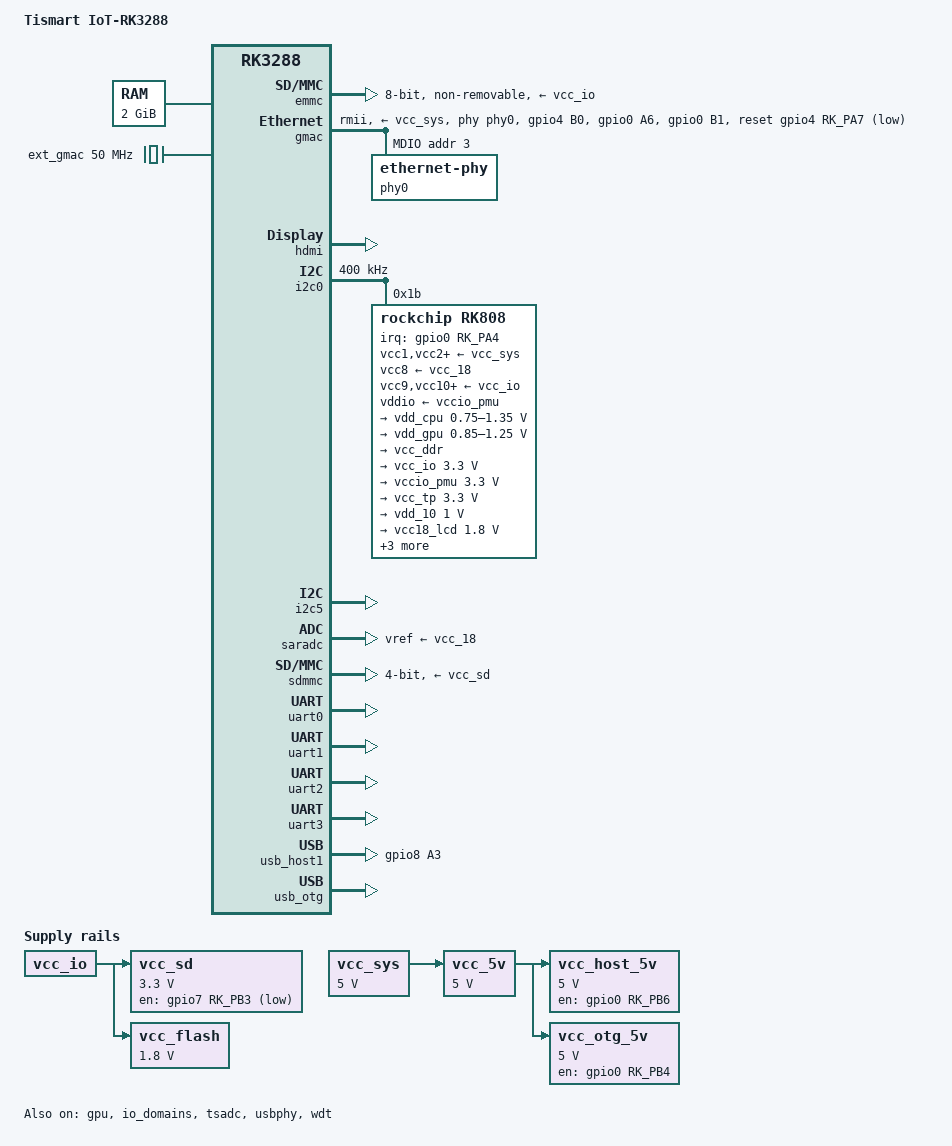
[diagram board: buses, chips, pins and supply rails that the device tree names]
// SPDX-License-Identifier: (GPL-2.0+ OR MIT)
/*
 * Copyright (c) 2014, 2015 FUKAUMI Naoki <naobsd@gmail.com>
 */

/dts-v1/;
#include "rk3288.dtsi"
#include <dt-bindings/clock/rockchip,rk808.h>
#include <dt-bindings/input/input.h>
#include <dt-bindings/pwm/pwm.h>

/ {
	model = "Tismart IoT-RK3288";
	compatible = "tismart,iot-rk3288", "rockchip,rk3288";

	chosen {
		stdout-path = "serial2:115200n8";
	};

	memory@0 {
		device_type = "memory";
		reg = <0x0 0x0 0x0 0x80000000>;
	};

	ext_gmac: external-gmac-clock {
		compatible = "fixed-clock";
		#clock-cells = <0>;
		clock-frequency = <50000000>; /* 50MHz for RMII */
		clock-output-names = "ext_gmac";
	};

	vcc_sys: vsys-regulator {
		compatible = "regulator-fixed";
		regulator-name = "vcc_sys";
		regulator-min-microvolt = <5000000>;
		regulator-max-microvolt = <5000000>;
		regulator-always-on;
		regulator-boot-on;
	};

	vcc_sd: regulator-sdmmc {
		compatible = "regulator-fixed";
		gpio = <&gpio7 RK_PB3 GPIO_ACTIVE_LOW>;
		regulator-name = "vcc_sd";
		regulator-min-microvolt = <3300000>;
		regulator-max-microvolt = <3300000>;
		startup-delay-us = <100000>;
		vin-supply = <&vcc_io>;
	};

	vcc_flash: regulator-flash {
		compatible = "regulator-fixed";
		regulator-name = "vcc_flash";
		regulator-min-microvolt = <1800000>;
		regulator-max-microvolt = <1800000>;
		vin-supply = <&vcc_io>;
	};

	vcc_5v: regulator-usb {
		compatible = "regulator-fixed";
		regulator-name = "vcc_5v";
		regulator-min-microvolt = <5000000>;
		regulator-max-microvolt = <5000000>;
		regulator-always-on;
		regulator-boot-on;
		vin-supply = <&vcc_sys>;
	};

	vcc_host_5v: regulator-usb-host {
		compatible = "regulator-fixed";
		enable-active-high;
		gpio = <&gpio0 RK_PB6 GPIO_ACTIVE_HIGH>;
		regulator-name = "vcc_host_5v";
		regulator-min-microvolt = <5000000>;
		regulator-max-microvolt = <5000000>;
		regulator-always-on;
		vin-supply = <&vcc_5v>;
	};

	vcc_otg_5v: regulator-usb-otg {
		compatible = "regulator-fixed";
		enable-active-high;
		gpio = <&gpio0 RK_PB4 GPIO_ACTIVE_HIGH>;
		regulator-name = "vcc_otg_5v";
		regulator-min-microvolt = <5000000>;
		regulator-max-microvolt = <5000000>;
		regulator-always-on;
		vin-supply = <&vcc_5v>;
	};
};

&cpu0 {
	cpu0-supply = <&vdd_cpu>;
};

&emmc {
	bus-width = <8>;
	cap-mmc-highspeed;
	disable-wp;
	non-removable;
	pinctrl-names = "default";
	pinctrl-0 = <&emmc_clk &emmc_cmd &emmc_pwr &emmc_bus8>;
	vmmc-supply = <&vcc_io>;
	vqmmc-supply = <&vcc_flash>;
	status = "okay";
};

&gmac {
	assigned-clocks = <&cru SCLK_MAC>;
	assigned-clock-parents = <&ext_gmac>;
	clock_in_out = "input"; /* Clock input from external 50MHz oscillator */
	pinctrl-names = "default";
	pinctrl-0 = <&rmii_pins>, <&phy_rst>, <&phy_pmeb>, <&phy_int>;
	phy-supply = <&vcc_sys>; /* Force to always-on system regulator in U-Boot */
	phy-mode = "rmii"; 
	phy-handle = <&phy0>;
	snps,reset-active-low;
	snps,reset-delays-us = <0 10000 50000>;
	snps,reset-gpio = <&gpio4 RK_PA7 GPIO_ACTIVE_LOW>;
	tx_delay = <0x30>;
	rx_delay = <0x10>;
	max-speed = <100>;
	status = "okay";

	mdio {
		compatible = "snps,dwmac-mdio";
		#address-cells = <1>;
		#size-cells = <0>;

		phy0: ethernet-phy@3 {
			reg = <3>;
		};
	};
};

&gpu {
	mali-supply = <&vdd_gpu>;
	status = "okay";
};

&hdmi {
	ddc-i2c-bus = <&i2c5>;
	status = "okay";
};

&i2c0 {
	clock-frequency = <400000>;
	status = "okay";

	rk808: pmic@1b {
		compatible = "rockchip,rk808";
		reg = <0x1b>;
		interrupt-parent = <&gpio0>;
		interrupts = <RK_PA4 IRQ_TYPE_LEVEL_LOW>;
		pinctrl-names = "default";
		pinctrl-0 = <&pmic_int &global_pwroff>;
		rockchip,system-power-controller;
		wakeup-source;
		#clock-cells = <1>;
		clock-output-names = "xin32k", "rk808-clkout2";

		vcc1-supply = <&vcc_sys>;
		vcc2-supply = <&vcc_sys>;
		vcc3-supply = <&vcc_sys>;
		vcc4-supply = <&vcc_sys>;
		vcc6-supply = <&vcc_sys>;
		vcc7-supply = <&vcc_sys>;
		vcc8-supply = <&vcc_18>;
		vcc9-supply = <&vcc_io>;
		vcc10-supply = <&vcc_io>;
		vcc11-supply = <&vcc_sys>;
		vcc12-supply = <&vcc_io>;
		vddio-supply = <&vccio_pmu>;

		regulators {
			vdd_cpu: DCDC_REG1 {
				regulator-always-on;
				regulator-boot-on;
				regulator-min-microvolt = <750000>;
				regulator-max-microvolt = <1350000>;
				regulator-name = "vdd_arm";
				regulator-state-mem {
					regulator-off-in-suspend;
				};
			};

			vdd_gpu: DCDC_REG2 {
				regulator-always-on;
				regulator-boot-on;
				regulator-min-microvolt = <850000>;
				regulator-max-microvolt = <1250000>;
				regulator-name = "vdd_gpu";
				regulator-state-mem {
					regulator-on-in-suspend;
				};
			};

			vcc_ddr: DCDC_REG3 {
				regulator-always-on;
				regulator-boot-on;
				regulator-name = "vcc_ddr";
				regulator-state-mem {
					regulator-on-in-suspend;
				};
			};

			vcc_io: DCDC_REG4 {
				regulator-always-on;
				regulator-boot-on;
				regulator-min-microvolt = <3300000>;
				regulator-max-microvolt = <3300000>;
				regulator-name = "vcc_io";
				regulator-state-mem {
					regulator-on-in-suspend;
				};
			};

			vccio_pmu: LDO_REG1 {
				regulator-always-on;
				regulator-boot-on;
				regulator-min-microvolt = <3300000>;
				regulator-max-microvolt = <3300000>;
				regulator-name = "vccio_pmu";
				regulator-state-mem {
					regulator-on-in-suspend;
				};
			};

			vcc_tp: LDO_REG2 {
				regulator-always-on;
				regulator-boot-on;
				regulator-min-microvolt = <3300000>;
				regulator-max-microvolt = <3300000>;
				regulator-name = "vcc_tp";
				regulator-state-mem {
					regulator-off-in-suspend;
				};
			};

			vdd_10: LDO_REG3 {
				regulator-always-on;
				regulator-boot-on;
				regulator-min-microvolt = <1000000>;
				regulator-max-microvolt = <1000000>;
				regulator-name = "vdd_10";
				regulator-state-mem {
					regulator-on-in-suspend;
				};
			};

			vcc18_lcd: LDO_REG4 {
				regulator-always-on;
				regulator-boot-on;
				regulator-min-microvolt = <1800000>;
				regulator-max-microvolt = <1800000>;
				regulator-name = "vcc18_lcd";
				regulator-state-mem {
					regulator-on-in-suspend;
				};
			};

			vccio_sd: LDO_REG5 {
				regulator-always-on;
				regulator-boot-on;
				regulator-min-microvolt = <1800000>;
				regulator-max-microvolt = <3300000>;
				regulator-name = "vccio_sd";
				regulator-state-mem {
					regulator-on-in-suspend;
				};
			};

			vdd10_lcd: LDO_REG6 {
				regulator-always-on;
				regulator-boot-on;
				regulator-min-microvolt = <1000000>;
				regulator-max-microvolt = <1000000>;
				regulator-name = "vdd10_lcd";
				regulator-state-mem {
					regulator-on-in-suspend;
				};
			};

			vcc_18: LDO_REG7 {
				regulator-always-on;
				regulator-boot-on;
				regulator-min-microvolt = <1800000>;
				regulator-max-microvolt = <1800000>;
				regulator-name = "vcc_18";
				regulator-state-mem {
					regulator-on-in-suspend;
				};
			};

			vcca_codec: LDO_REG8 {
				regulator-always-on;
				regulator-boot-on;
				regulator-min-microvolt = <3300000>;
				regulator-max-microvolt = <3300000>;
				regulator-name = "vcca_codec";
				regulator-state-mem {
					regulator-on-in-suspend;
				};
			};

			vcc_wl: SWITCH_REG1 {
				regulator-always-on;
				regulator-boot-on;
				regulator-name = "vcc_wl";
				regulator-state-mem {
					regulator-on-in-suspend;
				};
			};

			vcc_lan: SWITCH_REG2 {
				regulator-always-on;
				regulator-boot-on;
				regulator-name = "vcc_lan";
				regulator-state-mem {
					regulator-on-in-suspend;
				};
			};
		};
	};
};

&i2c5 {
	status = "okay";
};

&io_domains {
	status = "okay";

	audio-supply = <&vcca_codec>;
	bb-supply = <&vcc_io>;
	dvp-supply = <&vcc_io>;
	flash0-supply = <&vcc_flash>;
	flash1-supply = <&vcc_lan>;
	gpio30-supply = <&vcc_io>;
	gpio1830-supply = <&vcc_io>;
	lcdc-supply = <&vcc_io>;
	sdcard-supply = <&vccio_sd>;
	wifi-supply = <&vcc_wl>;
};

&pinctrl {
	pcfg_output_high: pcfg-output-high {
		output-high;
	};

	gmac {
		phy_int: phy-int {
			rockchip,pins = <0 RK_PB1 RK_FUNC_GPIO &pcfg_pull_up>;
		};

		phy_pmeb: phy-pmeb {
			rockchip,pins = <0 RK_PA6 RK_FUNC_GPIO &pcfg_pull_up>;
		};

		phy_rst: phy-rst {
			rockchip,pins = <4 RK_PB0 RK_FUNC_GPIO &pcfg_output_high>;
		};
	};

	hdmi {
		vcc50_hdmi_en: vcc50-hdmi-en {
			rockchip,pins = <7 RK_PB4 RK_FUNC_GPIO &pcfg_pull_none>;
		};
	};

	pmic {
		pmic_int: pmic-int {
			rockchip,pins = <0 RK_PA4 RK_FUNC_GPIO &pcfg_pull_up>;
		};
	};

	usb_host {
		usbhub_rst: usbhub-rst {
			rockchip,pins = <8 RK_PA3 RK_FUNC_GPIO &pcfg_output_high>;
		};
	};

	usb_otg {
		otg_vbus_drv: otg-vbus-drv {
			rockchip,pins = <0 RK_PB4 RK_FUNC_GPIO &pcfg_pull_none>;
		};
	};
};

&saradc {
	vref-supply = <&vcc_18>;
	status = "okay";
};

&sdmmc {
	bus-width = <4>;
	cap-mmc-highspeed;
	cap-sd-highspeed;
	card-detect-delay = <200>;
	disable-wp;
	pinctrl-names = "default";
	pinctrl-0 = <&sdmmc_clk>, <&sdmmc_cmd>, <&sdmmc_cd>, <&sdmmc_bus4>;
	vmmc-supply = <&vcc_sd>;
	vqmmc-supply = <&vccio_sd>;
	status = "okay";
};

&tsadc {
	rockchip,hw-tshut-mode = <0>;
	rockchip,hw-tshut-polarity = <0>;
	status = "okay";
};

&uart0 {
	status = "okay";
};

&uart1 {
	status = "okay";
};

&uart2 {
	status = "okay";
};

&uart3 {
	status = "okay";
};

&usbphy {
	status = "okay";
};

&usb_host1 {
	pinctrl-names = "default";
	pinctrl-0 = <&usbhub_rst>;
	status = "okay";
};

&usb_otg {
	status = "okay";
};

&wdt {
	status = "okay";
};
